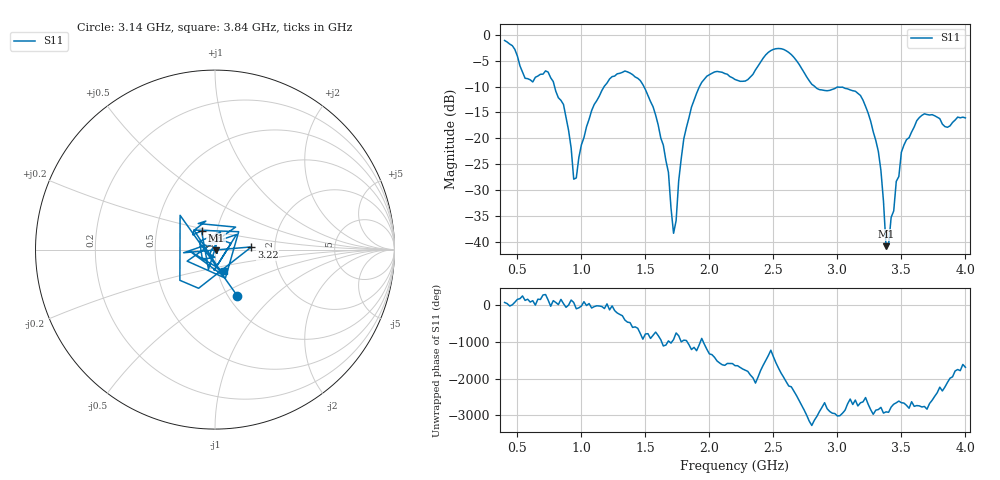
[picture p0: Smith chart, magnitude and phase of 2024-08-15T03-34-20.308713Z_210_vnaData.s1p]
!Created with skrf (http://scikit-rf.org).
# Hz S RI R 50.0
!freq ReS11 ImS11
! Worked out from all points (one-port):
!   181 points, 400 MHz to 4 GHz, reference 50 ohm
!   lowest |S11| = -40.9 dB at 3.38 GHz (marker M1), VSWR 1.02, Z = 50.8 - j0.397 ohm
!   |S11| at or under -10 dB: 790.5 MHz to 1.177 GHz (386.9 MHz wide, 39.3 % of centre); 1.489 GHz to 1.922 GHz (433.6 MHz wide, 25.4 % of centre); 2.825 GHz to end of sweep
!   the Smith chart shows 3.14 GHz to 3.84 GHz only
!   S11 on the Smith chart (normalised r, x): 3.14 GHz: 1.10, -0.62; 3.22 GHz: 1.51, +0.05; 3.6 GHz: 0.84, +0.18; 3.84 GHz: 1.07, -0.26
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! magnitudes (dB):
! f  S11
! 400 MHz  -1.1
! 560 MHz  -8.4
! 740 MHz  -7.2
! 860 MHz  -13.5
! 940 MHz  -27.9
! 960 MHz  -27.7
! 1.08 GHz  -14.6
! 1.3 GHz  -7.4
! 1.56 GHz  -13.9
! 1.68 GHz  -26.6
! 1.72 GHz  -38.4
! 1.76 GHz  -28.3
! 1.82 GHz  -17.9
! 1.94 GHz  -9.2
! 2.2 GHz  -8.6
! 2.5 GHz  -2.8
! 2.66 GHz  -4.3
! 2.84 GHz  -10.4
! 3.1 GHz  -10.6
! 3.14 GHz  -10.9
! 3.22 GHz  -13.8
! 3.32 GHz  -22.6
! 3.38 GHz  -40.9
! 3.5 GHz  -22.7
! 3.56 GHz  -19.9
! 3.6 GHz  -17.8
! 3.84 GHz  -17.7
! 4 GHz  -16.0
